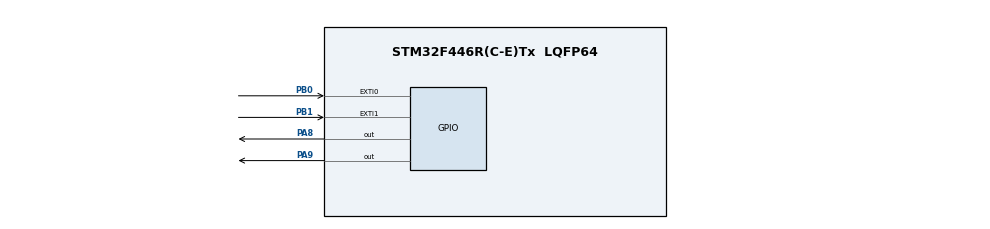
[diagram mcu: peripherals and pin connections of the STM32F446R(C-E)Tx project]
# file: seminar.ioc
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Mcu.Family=STM32F4
Mcu.Name=STM32F446R(C-E)Tx
Mcu.Package=LQFP64
NVIC.EXTI0_IRQn=true\:0\:0\:false\:false\:true\:true\:true\:true
NVIC.EXTI1_IRQn=true\:0\:0\:false\:false\:true\:true\:true\:true
NVIC.PriorityGroup=NVIC_PRIORITYGROUP_4
NVIC.TIM3_IRQn=true\:0\:0\:false\:false\:true\:true\:true\:true
PA13.Mode=Serial_Wire
PA13.Signal=SYS_JTMS-SWDIO
PA14.Mode=Serial_Wire
PA14.Signal=SYS_JTCK-SWCLK
PA8.Signal=GPIO_Output
PA9.Signal=GPIO_Output
PB0.GPIO_ModeDefaultEXTI=GPIO_MODE_IT_FALLING
PB0.GPIO_PuPd=GPIO_PULLUP
PB0.Signal=GPXTI0
PB1.GPIO_ModeDefaultEXTI=GPIO_MODE_IT_FALLING
PB1.GPIO_PuPd=GPIO_PULLUP
PB1.Signal=GPXTI1
ProjectManager.HeapSize=0x200
ProjectManager.StackSize=0x400
ProjectManager.TargetToolchain=STM32CubeIDE
RCC.CortexFreq_Value=16000000
RCC.USBFreq_Value=96000000
RCC.VCOOutputFreq_Value=192000000
TIM3.Prescaler=8399
VP_TIM3_VS_ClockSourceINT.Mode=Internal
board=custom

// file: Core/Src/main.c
/* USER CODE BEGIN Header */
/**
  ******************************************************************************
  * @file           : main.c
  * @brief          : Main program body
  ******************************************************************************
  * @attention
  *
  * Copyright (c) 2026 STMicroelectronics.
  * All rights reserved.
  *
  * This software is licensed under terms that can be found in the LICENSE file
  * in the root directory of this software component.
  * If no LICENSE file comes with this software, it is provided AS-IS.
  *
  ******************************************************************************
  */
/* USER CODE END Header */
#include "main.h"
#include "tim.h"
#include "gpio.h"

/* USER CODE BEGIN PV */
uint8_t alarm_active = 0;
int32_t countdown_timer = -1;
/* USER CODE END PV */

void SystemClock_Config(void);

int main(void)
{

  /* MCU Configuration--------------------------------------------------------*/

  /* Reset of all peripherals, Initializes the Flash interface and the Systick. */
  HAL_Init();

  /* Configure the system clock */
  SystemClock_Config();

  /* Initialize all configured peripherals */
  MX_GPIO_Init();
  MX_TIM3_Init();
  /* USER CODE BEGIN 2 */

    __HAL_TIM_SET_PRESCALER(&htim3, 1599);
    __HAL_TIM_SET_AUTORELOAD(&htim3, 4999);

    HAL_TIM_Base_Start_IT(&htim3);
  /* USER CODE END 2 */

  /* Infinite loop */
  /* USER CODE BEGIN WHILE */
  while (1)
  {
	  // Odbrojavanje
	        if (countdown_timer > 0)
	        {
	            for(int i = 0; i < 10; i++)
	            {
	                HAL_Delay(100);
	                if (countdown_timer <= 0 || alarm_active == 1) {
	                    break;
	                }
	            }

	            if (countdown_timer > 0 && alarm_active == 0)
	            {
	                countdown_timer--;
	            }

	            if (countdown_timer == 0 && alarm_active == 0)
	            {
	                alarm_active = 1;
	            }
	        }

	        // Paljenje i gašenje izlaza
	        if (alarm_active == 1)
	        {
	            HAL_GPIO_WritePin(GPIOA, GPIO_PIN_8, GPIO_PIN_SET);   // LED ON

	            for(int j = 0; j < 25; j++)
	            {
	                HAL_GPIO_WritePin(GPIOA, GPIO_PIN_9, GPIO_PIN_SET);
	                if (alarm_active == 0) break;
	                for(int delay=0; delay<300; delay++);

	                HAL_GPIO_WritePin(GPIOA, GPIO_PIN_9, GPIO_PIN_RESET);
	                if (alarm_active == 0) break;
	                for(int delay=0; delay<300; delay++);
	            }

	            HAL_GPIO_WritePin(GPIOA, GPIO_PIN_8, GPIO_PIN_RESET); // LED OFF

	            for(int j = 0; j < 10; j++) {
	                if (alarm_active == 0) break;
	                HAL_Delay(10);
	            }
	        }
	        else
	        {
	            HAL_GPIO_WritePin(GPIOA, GPIO_PIN_8, GPIO_PIN_RESET);
	            HAL_GPIO_WritePin(GPIOA, GPIO_PIN_9, GPIO_PIN_RESET);
	            HAL_Delay(50);
	        }
    /* USER CODE END WHILE */

  }
}

void SystemClock_Config(void)
{
  RCC_OscInitTypeDef RCC_OscInitStruct = {0};
  RCC_ClkInitTypeDef RCC_ClkInitStruct = {0};

  /** Configure the main internal regulator output voltage
  */
  __HAL_RCC_PWR_CLK_ENABLE();
  __HAL_PWR_VOLTAGESCALING_CONFIG(PWR_REGULATOR_VOLTAGE_SCALE3);

  /** Initializes the RCC Oscillators according to the specified parameters
  * in the RCC_OscInitTypeDef structure.
  */
  RCC_OscInitStruct.OscillatorType = RCC_OSCILLATORTYPE_HSI;
  RCC_OscInitStruct.HSIState = RCC_HSI_ON;
  RCC_OscInitStruct.HSICalibrationValue = RCC_HSICALIBRATION_DEFAULT;
  RCC_OscInitStruct.PLL.PLLState = RCC_PLL_NONE;
  if (HAL_RCC_OscConfig(&RCC_OscInitStruct) != HAL_OK)
  {
    Error_Handler();
  }

  /** Initializes the CPU, AHB and APB buses clocks
  */
  RCC_ClkInitStruct.ClockType = RCC_CLOCKTYPE_HCLK|RCC_CLOCKTYPE_SYSCLK
                              |RCC_CLOCKTYPE_PCLK1|RCC_CLOCKTYPE_PCLK2;
  RCC_ClkInitStruct.SYSCLKSource = RCC_SYSCLKSOURCE_HSI;
  RCC_ClkInitStruct.AHBCLKDivider = RCC_SYSCLK_DIV1;
  RCC_ClkInitStruct.APB1CLKDivider = RCC_HCLK_DIV1;
  RCC_ClkInitStruct.APB2CLKDivider = RCC_HCLK_DIV1;

  if (HAL_RCC_ClockConfig(&RCC_ClkInitStruct, FLASH_LATENCY_0) != HAL_OK)
  {
    Error_Handler();
  }
}

/* USER CODE BEGIN 4 */
void HAL_GPIO_EXTI_Callback(uint16_t GPIO_Pin)
{
	for(volatile int i = 0; i < 50000; i++);

	    // PB1 - Magnet
	    if (GPIO_Pin == GPIO_PIN_1)
	    {

	        if (HAL_GPIO_ReadPin(GPIOB, GPIO_PIN_1) == GPIO_PIN_SET)
	        {
	            if (alarm_active == 0 && countdown_timer == -1)
	            {
	                countdown_timer = 10;
	            }
	        }
	    }

	    // PB0 - Tipkalo
	    if (GPIO_Pin == GPIO_PIN_0)
	    {
	        alarm_active = 0;
	        countdown_timer = -1;
	    }
	}
void HAL_TIM_PeriodElapsedCallback(TIM_HandleTypeDef *htim)
{

    if (htim->Instance == TIM3)
    {

        if (countdown_timer > 0 && alarm_active == 0)
        {
            HAL_GPIO_TogglePin(GPIOA, GPIO_PIN_8);
        }
    }
}
/* USER CODE END 4 */

void Error_Handler(void)
{
  __disable_irq();
  while (1)
  {
  }
}
